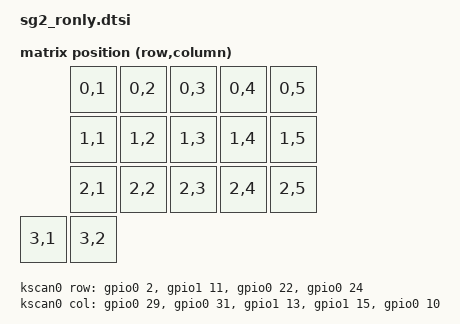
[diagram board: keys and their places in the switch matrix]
#include <dt-bindings/zmk/matrix_transform.h>

/ {
    physical_layout0: physical_layout_0 {
        compatible = "zmk,physical-layout";
        display-name = "Default Layout";
        kscan = <&kscan0>;
        transform = <&default_transform>;
    };

    chosen {
        zmk,physical-layout = &physical_layout0;
    };

    default_transform: keymap_transform0 {
        compatible = "zmk,matrix-transform";
        columns = <5>;
        rows = <4>;
        map = <
                    RC(0,1) RC(0,2) RC(0,3) RC(0,4) RC(0,5)
                    RC(1,1) RC(1,2) RC(1,3) RC(1,4) RC(1,5)
                    RC(2,1) RC(2,2) RC(2,3) RC(2,4) RC(2,5)
            RC(3,1) RC(3,2)
            >;
    };

    kscan0: kscan0 {
        compatible = "zmk,kscan-gpio-matrix";
        diode-direction = "col2row";
        wakeup-source;

        col-gpios
            = <&gpio0 29 GPIO_ACTIVE_HIGH>
            , <&gpio0 31 GPIO_ACTIVE_HIGH>
            , <&gpio1 13 GPIO_ACTIVE_HIGH>
            , <&gpio1 15 GPIO_ACTIVE_HIGH>
            , <&gpio0 10 GPIO_ACTIVE_HIGH>
            ;

        row-gpios
            = <&gpio0  2 (GPIO_ACTIVE_HIGH | GPIO_PULL_DOWN)>
            , <&gpio1 11 (GPIO_ACTIVE_HIGH | GPIO_PULL_DOWN)>
            , <&gpio0 22 (GPIO_ACTIVE_HIGH | GPIO_PULL_DOWN)>
            , <&gpio0 24 (GPIO_ACTIVE_HIGH | GPIO_PULL_DOWN)>
            ;
    };

};
